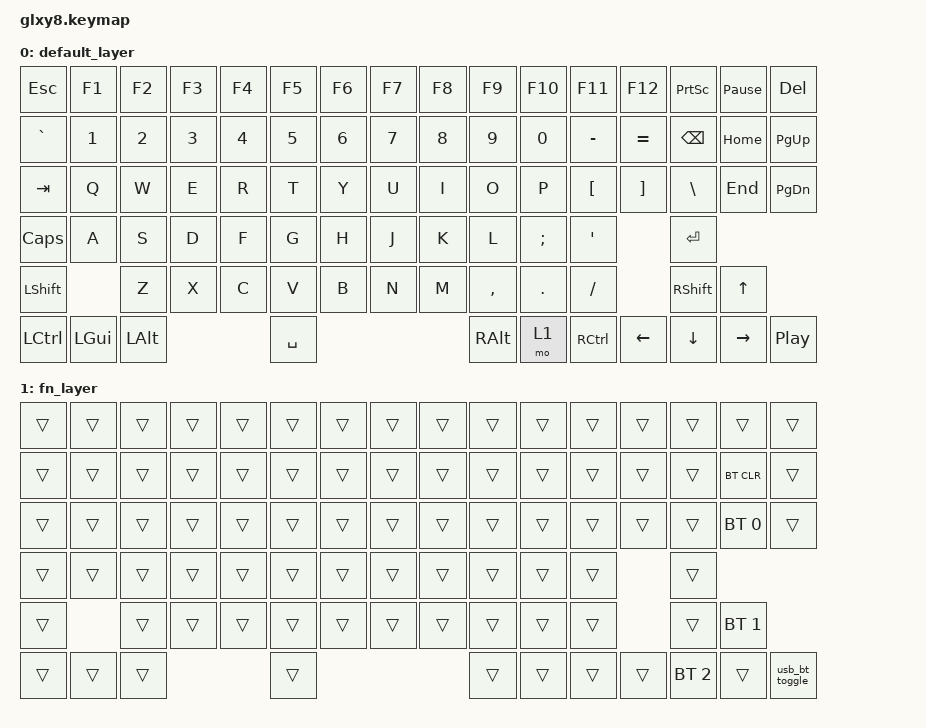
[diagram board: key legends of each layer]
/*
 * Copyright (c) 2025 Altreol
 *
 * SPDX-License-Identifier: MIT
 */

#include <behaviors.dtsi>
#include <dt-bindings/zmk/keys.h>
#include <dt-bindings/zmk/bt.h>

/ {
    behaviors {
        kbd_reset: keyboard_reset {
            compatible = "zmk,behavior-hold-tap";
            label = "KEYBOARD_RESET";
            #binding-cells = <2>;
            tapping-term-ms = <3000>;    // 3 seconds hold time
            flavor = "hold-preferred";
            bindings = <&kp>, <&kp>; // Using regular key press for keyboard's built-in function
        };

        usb_bt_toggle: toggle_usb_bt {
            compatible = "zmk,behavior-basic";
            label = "TOGGLE_USB_BT";
            #binding-cells = <0>;
            bindings = <&bt BT_TOGGLE>;
        };
    };

    keymap {
        compatible = "zmk,keymap";

        default_layer {
            bindings = <
                &kp ESC    &kp F1    &kp F2    &kp F3    &kp F4    &kp F5    &kp F6    &kp F7    &kp F8    &kp F9    &kp F10   &kp F11   &kp F12   &kp PSCRN &kp PAUSE_BREAK &kp DEL
                &kp GRAVE  &kp N1    &kp N2    &kp N3    &kp N4    &kp N5    &kp N6    &kp N7    &kp N8    &kp N9    &kp N0    &kp MINUS &kp EQUAL &kp BSPC  &kp HOME  &kp PG_UP
                &kp TAB    &kp Q     &kp W     &kp E     &kp R     &kp T     &kp Y     &kp U     &kp I     &kp O     &kp P     &kp LBKT  &kp RBKT  &kp BSLH  &kp END   &kp PG_DN
                &kp CAPS   &kp A     &kp S     &kp D     &kp F     &kp G     &kp H     &kp J     &kp K     &kp L     &kp SEMI  &kp SQT            &kp RET
                &kp LSHFT           &kp Z     &kp X     &kp C     &kp V     &kp B     &kp N     &kp M     &kp COMMA &kp DOT   &kp FSLH           &kp RSHFT &kp UP
                &kp LCTRL  &kp LGUI  &kp LALT                      &kp SPACE                               &kp RALT  &mo 1     &kp RCTRL &kp LEFT  &kp DOWN  &kp RIGHT &kp C_PP
            >;
        };

        fn_layer {
            bindings = <
                &trans    &trans    &trans    &trans    &trans    &trans    &trans    &trans    &trans    &trans    &trans    &trans    &trans    &trans    &trans    &trans
                &trans    &trans    &trans    &trans    &trans    &trans    &trans    &trans    &trans    &trans    &trans    &trans    &trans    &trans    &bt BT_CLR &trans
                &trans    &trans    &trans    &trans    &trans    &trans    &trans    &trans    &trans    &trans    &trans    &trans    &trans    &trans    &bt BT_SEL 0 &trans
                &trans    &trans    &trans    &trans    &trans    &trans    &trans    &trans    &trans    &trans    &trans    &trans              &trans    
                &trans              &trans    &trans    &trans    &trans    &trans    &trans    &trans    &trans    &trans    &trans              &trans    &bt BT_SEL 1
                &trans    &trans    &trans                        &trans                                   &trans    &trans    &trans    &trans    &bt BT_SEL 2 &trans &usb_bt_toggle
            >;
        };
    };
};
